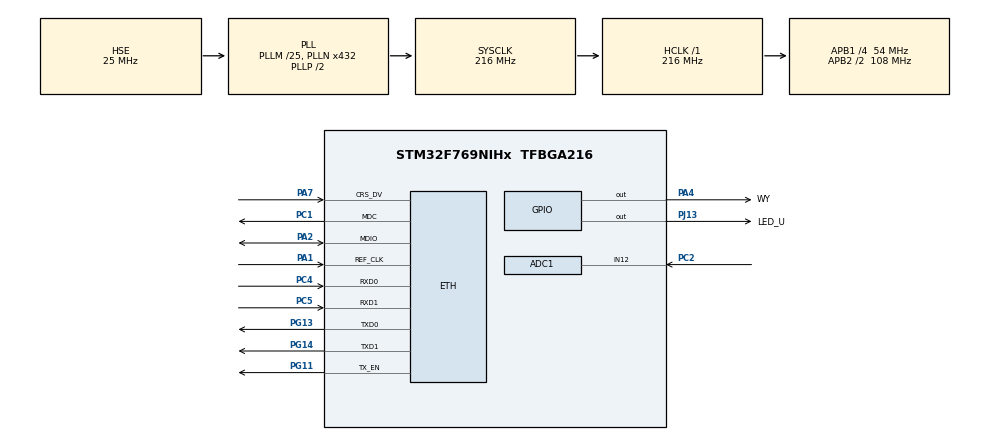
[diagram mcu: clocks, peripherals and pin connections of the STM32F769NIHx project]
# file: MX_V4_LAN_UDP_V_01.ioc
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ADC1.Channel-2\#ChannelRegularConversion=ADC_CHANNEL_12
ADC1.ClockPrescaler=ADC_CLOCK_SYNC_PCLK_DIV4
ADC1.ContinuousConvMode=DISABLE
ADC1.DMAContinuousRequests=ENABLE
ADC1.DataAlign=ADC_DATAALIGN_RIGHT
ADC1.DiscontinuousConvMode=DISABLE
ADC1.EOCSelection=ADC_EOC_SINGLE_CONV
ADC1.EnableAnalogWatchDog=false
ADC1.ExternalTrigConv=ADC_EXTERNALTRIGCONV_T4_TRGO
ADC1.ExternalTrigConvEdge=ADC_EXTERNALTRIGCONVEDGE_RISING
ADC1.InjNumberOfConversion=0
ADC1.NbrOfConversion=1
ADC1.NbrOfConversionFlag=1
ADC1.Rank-2\#ChannelRegularConversion=1
ADC1.Resolution=ADC_RESOLUTION_12B
ADC1.SamplingTime-2\#ChannelRegularConversion=ADC_SAMPLETIME_3CYCLES
ADC1.ScanConvMode=ADC_SCAN_DISABLE
ADC1.master=1
Dma.ADC1.0.Direction=DMA_PERIPH_TO_MEMORY
Dma.ADC1.0.FIFOMode=DMA_FIFOMODE_DISABLE
Dma.ADC1.0.Instance=DMA2_Stream0
Dma.ADC1.0.MemDataAlignment=DMA_MDATAALIGN_HALFWORD
Dma.ADC1.0.MemInc=DMA_MINC_ENABLE
Dma.ADC1.0.Mode=DMA_NORMAL
Dma.ADC1.0.PeriphDataAlignment=DMA_PDATAALIGN_HALFWORD
Dma.ADC1.0.PeriphInc=DMA_PINC_DISABLE
Dma.ADC1.0.Priority=DMA_PRIORITY_LOW
Dma.Request0=ADC1
ETH.MediaInterface=ETH_MEDIA_INTERFACE_RMII
ETH.PhyAddress=0
LWIP.GATEWAY_ADDRESS=192.168.000.001
LWIP.IP_ADDRESS=192.168.000.055
LWIP.LWIP_DHCP=0
LWIP.MEM_SIZE=1600
LWIP.NETMASK_ADDRESS=255.255.255.000
LWIP.PBUF_POOL_BUFSIZE=592
LWIP.TCP_MSS=1024
LWIP.TCP_SND_BUF=2048
LWIP.Version=v2.0.3_Cube
Mcu.Family=STM32F7
Mcu.Name=STM32F769NIHx
Mcu.Package=TFBGA216
NVIC.DMA2_Stream0_IRQn=true\:0\:0\:false\:false\:true\:false
NVIC.PriorityGroup=NVIC_PRIORITYGROUP_4
PA1.Mode=RMII
PA1.Signal=ETH_REF_CLK
PA2.Mode=RMII
PA2.Signal=ETH_MDIO
PA4.GPIO_Label=WY
PA4.Signal=GPIO_Output
PA7.Mode=RMII
PA7.Signal=ETH_CRS_DV
PC1.Mode=RMII
PC1.Signal=ETH_MDC
PC2.Signal=ADCx_IN12
PC4.Mode=RMII
PC4.Signal=ETH_RXD0
PC5.Mode=RMII
PC5.Signal=ETH_RXD1
PG11.Mode=RMII
PG11.Signal=ETH_TX_EN
PG13.Mode=RMII
PG13.Signal=ETH_TXD0
PG14.Mode=RMII
PG14.Signal=ETH_TXD1
PH0/OSC_IN.Mode=HSE-External-Oscillator
PH0/OSC_IN.Signal=RCC_OSC_IN
PH1/OSC_OUT.Mode=HSE-External-Oscillator
PH1/OSC_OUT.Signal=RCC_OSC_OUT
PJ13.GPIO_Label=LED_U
PJ13.Signal=GPIO_Output
ProjectManager.HeapSize=0x2000
ProjectManager.StackSize=0x4000
ProjectManager.TargetToolchain=SW4STM32
RCC.AHBFreq_Value=216000000
RCC.APB1CLKDivider=RCC_HCLK_DIV4
RCC.APB1Freq_Value=54000000
RCC.APB1TimFreq_Value=108000000
RCC.APB2CLKDivider=RCC_HCLK_DIV2
RCC.APB2Freq_Value=108000000
RCC.APB2TimFreq_Value=216000000
RCC.CortexFreq_Value=216000000
RCC.HCLKFreq_Value=216000000
RCC.HSE_VALUE=25000000
RCC.HSI_VALUE=16000000
RCC.LSE_VALUE=32768
RCC.PLLM=25
RCC.PLLN=432
RCC.PLLSourceVirtual=RCC_PLLSOURCE_HSE
RCC.SYSCLKFreq_VALUE=216000000
RCC.SYSCLKSource=RCC_SYSCLKSOURCE_PLLCLK
RCC.USBFreq_Value=216000000
RCC.VCOOutputFreq_Value=432000000
SH.ADCx_IN12.0=ADC1_IN12,IN12
TIM4.Period=269
TIM4.Prescaler=0
TIM4.TIM_MasterOutputTrigger=TIM_TRGO_UPDATE
VP_LWIP_VS_Enabled.Mode=Enabled
VP_TIM4_VS_ClockSourceINT.Mode=Internal
board=custom

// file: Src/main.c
/**
  ******************************************************************************
  * @file           : main.c
  * @brief          : Main program body
  ******************************************************************************
  * This notice applies to any and all portions of this file
  * that are not between comment pairs USER CODE BEGIN and
  * USER CODE END. Other portions of this file, whether
  * inserted by the user or by software development tools
  * are owned by their respective copyright owners.
  *
  * Copyright (c) 2019 STMicroelectronics International N.V.
  * All rights reserved.
  *
  * Redistribution and use in source and binary forms, with or without
  * modification, are permitted, provided that the following conditions are met:
  *
  * 1. Redistribution of source code must retain the above copyright notice,
  *    this list of conditions and the following disclaimer.
  * 2. Redistributions in binary form must reproduce the above copyright notice,
  *    this list of conditions and the following disclaimer in the documentation
  *    and/or other materials provided with the distribution.
  * 3. Neither the name of STMicroelectronics nor the names of other
  *    contributors to this software may be used to endorse or promote products
  *    derived from this software without specific written permission.
  * 4. This software, including modifications and/or derivative works of this
  *    software, must execute solely and exclusively on microcontroller or
  *    microprocessor devices manufactured by or for STMicroelectronics.
  * 5. Redistribution and use of this software other than as permitted under
  *    this license is void and will automatically terminate your rights under
  *    this license.
  *
  * THIS SOFTWARE IS PROVIDED BY STMICROELECTRONICS AND CONTRIBUTORS "AS IS"
  * AND ANY EXPRESS, IMPLIED OR STATUTORY WARRANTIES, INCLUDING, BUT NOT
  * LIMITED TO, THE IMPLIED WARRANTIES OF MERCHANTABILITY, FITNESS FOR A
  * PARTICULAR PURPOSE AND NON-INFRINGEMENT OF THIRD PARTY INTELLECTUAL PROPERTY
  * RIGHTS ARE DISCLAIMED TO THE FULLEST EXTENT PERMITTED BY LAW. IN NO EVENT
  * SHALL STMICROELECTRONICS OR CONTRIBUTORS BE LIABLE FOR ANY DIRECT, INDIRECT,
  * INCIDENTAL, SPECIAL, EXEMPLARY, OR CONSEQUENTIAL DAMAGES (INCLUDING, BUT NOT
  * LIMITED TO, PROCUREMENT OF SUBSTITUTE GOODS OR SERVICES; LOSS OF USE, DATA,
  * OR PROFITS; OR BUSINESS INTERRUPTION) HOWEVER CAUSED AND ON ANY THEORY OF
  * LIABILITY, WHETHER IN CONTRACT, STRICT LIABILITY, OR TORT (INCLUDING
  * NEGLIGENCE OR OTHERWISE) ARISING IN ANY WAY OUT OF THE USE OF THIS SOFTWARE,
  * EVEN IF ADVISED OF THE POSSIBILITY OF SUCH DAMAGE.
  *
  ******************************************************************************
  */
#include "main.h"
#include "stm32f7xx_hal.h"
#include "lwip.h"

/* USER CODE BEGIN Includes */
#include <math.h>
/* USER CODE END Includes */

ADC_HandleTypeDef hadc1;
DMA_HandleTypeDef hdma_adc1;

TIM_HandleTypeDef htim4;

/* USER CODE BEGIN PV */
/* Private variables ---------------------------------------------------------*/

//======================= DMA
uint16_t sampleDma1[16384];
uint16_t sampleDma2[16384];

//======================= UDP
#define IN_BUFF_SIZE 2048

static struct udp_pcb *myUdpPcb;

uint8_t dane[IN_BUFF_SIZE];
uint16_t elements[16384];
uint16_t codd[5] = { 123, 456, 789, 321, 654 };
uint8_t odbierane[20];

//======================= FLAGI
int flaga_potwOdb = 0;
int flagaTabDMA = 1;
int flagaDMA = 1;

int k;

ip_addr_t local_ip;
ip_addr_t remote_ip;
err_t udpErr;

struct pbuf * bufor;

uint32_t MYDEL = 200000;
uint16_t samplesAmount = 1024;
uint16_t mode = 0;
uint16_t finish = 1;
/* USER CODE END PV */

void SystemClock_Config(void);
static void MX_GPIO_Init(void);
static void MX_DMA_Init(void);
static void MX_ADC1_Init(void);
static void MX_TIM4_Init(void);

/* USER CODE BEGIN PFP */
/* Private function prototypes -----------------------------------------------*/

void HAL_ADC_ConvCpltCallback(ADC_HandleTypeDef* hadc){
	flagaDMA = 1;
}

void myUdpSend(uint16_t *ptr, uint16_t len) {

	bufor = pbuf_alloc(PBUF_TRANSPORT, len, PBUF_RAM);

	pbuf_take(bufor, (char*) ptr, len);

	udp_sendto(myUdpPcb, bufor, &remote_ip, 5678);

	pbuf_free(bufor);
}

void myUdpReceive(void *arg, struct udp_pcb *pcb, struct pbuf *p,
		const ip_addr_t *addr, u16_t port) {
	uint8_t *c = (uint8_t *) p->payload;
	for (int i = 0; i < p->len; ++i) {
		odbierane[i] = c[i];
		if (p->len == p->tot_len) {
			break;
		} else {
			p = p->next;
		}
	}

	if (odbierane[0] == 55) {
	} else if (odbierane[0] == 11) {
		samplesAmount = 1024;
		HAL_GPIO_TogglePin(LED_U_GPIO_Port, LED_U_Pin);
	} else if (odbierane[0] == 12) {
		samplesAmount = 2048;
		HAL_GPIO_TogglePin(LED_U_GPIO_Port, LED_U_Pin);
	} else if (odbierane[0] == 13) {
		samplesAmount = 4096;
		HAL_GPIO_TogglePin(LED_U_GPIO_Port, LED_U_Pin);
	} else if (odbierane[0] == 14) {
		samplesAmount = 8192;
		HAL_GPIO_TogglePin(LED_U_GPIO_Port, LED_U_Pin);
	} else if (odbierane[0] == 15) {
		samplesAmount = 16384;
		HAL_GPIO_TogglePin(LED_U_GPIO_Port, LED_U_Pin);
	} else if (odbierane[0] == 33) {
		if (mode < 1) {
			mode++;
		} else {
			mode = 0;
		}
	} else if (odbierane[0] == 100) {
		flaga_potwOdb = 1;
	}

	pbuf_free(p);
}

void myUdpInit(void) {
	myUdpPcb = udp_new();
	IP4_ADDR(&remote_ip, 192, 168, 0, 85); 				// Adres komputera
	IP4_ADDR(&local_ip, 192, 168, 0, 55); 				// Adres lokalny STM32
	if (myUdpPcb != NULL) {
		udpErr = udp_bind(myUdpPcb, &local_ip, 65100);	// Przypisanie lokalnego adresu i portu
		udp_recv(myUdpPcb, myUdpReceive, NULL);			// Okreœlenie funkcji wykonywanej po odbiorze danych
		if (udpErr != ERR_OK) {							// Sprawdzenie czy uda³o siê przypisac adres i port
			signalErr();
		}
	}
}

void signalErr(void) {
	while (1) {
		HAL_GPIO_TogglePin(LED_U_GPIO_Port, LED_U_Pin);
		HAL_Delay(300);
	}
}

void myUdpSendTable(uint16_t *ptr, uint16_t amount) {
	sendingWithConfirmation(codd, 10);
	for (int i = 0; i < amount / 512; i++) {
		sendingWithConfirmation(ptr + (512 * i), 1024);
	}
	finish = 1;
}

void sendingWithConfirmation(uint16_t *ptr, uint16_t len) {
	int i;
	poczatek: flaga_potwOdb = 0;
	myUdpSend(ptr, len);
	i = 0;
	while (flaga_potwOdb == 0) {
		MX_LWIP_Process();
		i++;
		if (i > MYDEL)
			goto poczatek;
	}
}

/* USER CODE END PFP */

int main(void)
{

  /* MCU Configuration----------------------------------------------------------*/

  /* Reset of all peripherals, Initializes the Flash interface and the Systick. */
  HAL_Init();

  /* Configure the system clock */
  SystemClock_Config();

  /* Initialize all configured peripherals */
  MX_GPIO_Init();
  MX_DMA_Init();
  MX_ADC1_Init();
  MX_LWIP_Init();
  MX_TIM4_Init();
  /* USER CODE BEGIN 2 */

	// licznik od dma
	HAL_TIM_Base_Start(&htim4);
	// dma
//	HAL_ADC_Start_DMA(&hadc1, sampleDma1, samplesAmount);

	myUdpInit();

  /* USER CODE END 2 */

  /* Infinite loop */
  /* USER CODE BEGIN WHILE */
	while (1) {

		MX_LWIP_Process();

		if (mode == 0) {
			if (k >= 65000) k = -135000;

			for (int i = 0; i < samplesAmount; i++) {
				elements[i] = (uint16_t) (2048
						+ 80 * sin((M_TWOPI * (3135000 + k) * i / 400000)));
//				elements[i] = (uint16_t) (200 + 200 * sin((M_TWOPI * i / 8192)));
			}
			k = -10000;
//			k += 1000;
//			HAL_Delay(100);
			myUdpSendTable(elements, samplesAmount);
		} else if (mode == 1 && flagaDMA == 1) {
			if (flagaTabDMA == 1) {
				flagaTabDMA = 2;
				HAL_ADC_Start_DMA(&hadc1, sampleDma2, samplesAmount);
				flagaDMA = 0;
				myUdpSendTable(sampleDma1, samplesAmount);
			} else if (flagaTabDMA == 2) {
				flagaTabDMA = 1;
				HAL_ADC_Start_DMA(&hadc1, sampleDma1, samplesAmount);
				flagaDMA = 0;
				myUdpSendTable(sampleDma1, samplesAmount);
			}
		}

  /* USER CODE END WHILE */

	}

}

void SystemClock_Config(void)
{

  RCC_OscInitTypeDef RCC_OscInitStruct;
  RCC_ClkInitTypeDef RCC_ClkInitStruct;

    /**Configure the main internal regulator output voltage
    */
  __HAL_RCC_PWR_CLK_ENABLE();

  __HAL_PWR_VOLTAGESCALING_CONFIG(PWR_REGULATOR_VOLTAGE_SCALE1);

    /**Initializes the CPU, AHB and APB busses clocks
    */
  RCC_OscInitStruct.OscillatorType = RCC_OSCILLATORTYPE_HSE;
  RCC_OscInitStruct.HSEState = RCC_HSE_ON;
  RCC_OscInitStruct.PLL.PLLState = RCC_PLL_ON;
  RCC_OscInitStruct.PLL.PLLSource = RCC_PLLSOURCE_HSE;
  RCC_OscInitStruct.PLL.PLLM = 25;
  RCC_OscInitStruct.PLL.PLLN = 432;
  RCC_OscInitStruct.PLL.PLLP = RCC_PLLP_DIV2;
  RCC_OscInitStruct.PLL.PLLQ = 2;
  if (HAL_RCC_OscConfig(&RCC_OscInitStruct) != HAL_OK)
  {
    _Error_Handler(__FILE__, __LINE__);
  }

    /**Activate the Over-Drive mode
    */
  if (HAL_PWREx_EnableOverDrive() != HAL_OK)
  {
    _Error_Handler(__FILE__, __LINE__);
  }

    /**Initializes the CPU, AHB and APB busses clocks
    */
  RCC_ClkInitStruct.ClockType = RCC_CLOCKTYPE_HCLK|RCC_CLOCKTYPE_SYSCLK
                              |RCC_CLOCKTYPE_PCLK1|RCC_CLOCKTYPE_PCLK2;
  RCC_ClkInitStruct.SYSCLKSource = RCC_SYSCLKSOURCE_PLLCLK;
  RCC_ClkInitStruct.AHBCLKDivider = RCC_SYSCLK_DIV1;
  RCC_ClkInitStruct.APB1CLKDivider = RCC_HCLK_DIV4;
  RCC_ClkInitStruct.APB2CLKDivider = RCC_HCLK_DIV2;

  if (HAL_RCC_ClockConfig(&RCC_ClkInitStruct, FLASH_LATENCY_7) != HAL_OK)
  {
    _Error_Handler(__FILE__, __LINE__);
  }

    /**Configure the Systick interrupt time
    */
  HAL_SYSTICK_Config(HAL_RCC_GetHCLKFreq()/1000);

    /**Configure the Systick
    */
  HAL_SYSTICK_CLKSourceConfig(SYSTICK_CLKSOURCE_HCLK);

  /* SysTick_IRQn interrupt configuration */
  HAL_NVIC_SetPriority(SysTick_IRQn, 0, 0);
}

/* ADC1 init function */
static void MX_ADC1_Init(void)
{

  ADC_ChannelConfTypeDef sConfig;

    /**Configure the global features of the ADC (Clock, Resolution, Data Alignment and number of conversion)
    */
  hadc1.Instance = ADC1;
  hadc1.Init.ClockPrescaler = ADC_CLOCK_SYNC_PCLK_DIV4;
  hadc1.Init.Resolution = ADC_RESOLUTION_12B;
  hadc1.Init.ScanConvMode = ADC_SCAN_DISABLE;
  hadc1.Init.ContinuousConvMode = DISABLE;
  hadc1.Init.DiscontinuousConvMode = DISABLE;
  hadc1.Init.ExternalTrigConvEdge = ADC_EXTERNALTRIGCONVEDGE_RISING;
  hadc1.Init.ExternalTrigConv = ADC_EXTERNALTRIGCONV_T4_TRGO;
  hadc1.Init.DataAlign = ADC_DATAALIGN_RIGHT;
  hadc1.Init.NbrOfConversion = 1;
  hadc1.Init.DMAContinuousRequests = ENABLE;
  hadc1.Init.EOCSelection = ADC_EOC_SINGLE_CONV;
  if (HAL_ADC_Init(&hadc1) != HAL_OK)
  {
    _Error_Handler(__FILE__, __LINE__);
  }

    /**Configure for the selected ADC regular channel its corresponding rank in the sequencer and its sample time.
    */
  sConfig.Channel = ADC_CHANNEL_12;
  sConfig.Rank = ADC_REGULAR_RANK_1;
  sConfig.SamplingTime = ADC_SAMPLETIME_3CYCLES;
  if (HAL_ADC_ConfigChannel(&hadc1, &sConfig) != HAL_OK)
  {
    _Error_Handler(__FILE__, __LINE__);
  }

}

/* TIM4 init function */
static void MX_TIM4_Init(void)
{

  TIM_ClockConfigTypeDef sClockSourceConfig;
  TIM_MasterConfigTypeDef sMasterConfig;

  htim4.Instance = TIM4;
  htim4.Init.Prescaler = 0;
  htim4.Init.CounterMode = TIM_COUNTERMODE_UP;
  htim4.Init.Period = 269;
  htim4.Init.ClockDivision = TIM_CLOCKDIVISION_DIV1;
  htim4.Init.AutoReloadPreload = TIM_AUTORELOAD_PRELOAD_DISABLE;
  if (HAL_TIM_Base_Init(&htim4) != HAL_OK)
  {
    _Error_Handler(__FILE__, __LINE__);
  }

  sClockSourceConfig.ClockSource = TIM_CLOCKSOURCE_INTERNAL;
  if (HAL_TIM_ConfigClockSource(&htim4, &sClockSourceConfig) != HAL_OK)
  {
    _Error_Handler(__FILE__, __LINE__);
  }

  sMasterConfig.MasterOutputTrigger = TIM_TRGO_UPDATE;
  sMasterConfig.MasterSlaveMode = TIM_MASTERSLAVEMODE_DISABLE;
  if (HAL_TIMEx_MasterConfigSynchronization(&htim4, &sMasterConfig) != HAL_OK)
  {
    _Error_Handler(__FILE__, __LINE__);
  }

}

static void MX_DMA_Init(void)
{
  /* DMA controller clock enable */
  __HAL_RCC_DMA2_CLK_ENABLE();

  /* DMA interrupt init */
  /* DMA2_Stream0_IRQn interrupt configuration */
  HAL_NVIC_SetPriority(DMA2_Stream0_IRQn, 0, 0);
  HAL_NVIC_EnableIRQ(DMA2_Stream0_IRQn);

}

/** Configure pins as
        * Analog
        * Input
        * Output
        * EVENT_OUT
        * EXTI
*/
static void MX_GPIO_Init(void)
{

  GPIO_InitTypeDef GPIO_InitStruct;

  /* GPIO Ports Clock Enable */
  __HAL_RCC_GPIOG_CLK_ENABLE();
  __HAL_RCC_GPIOJ_CLK_ENABLE();
  __HAL_RCC_GPIOH_CLK_ENABLE();
  __HAL_RCC_GPIOC_CLK_ENABLE();
  __HAL_RCC_GPIOA_CLK_ENABLE();

  /*Configure GPIO pin Output Level */
  HAL_GPIO_WritePin(LED_U_GPIO_Port, LED_U_Pin, GPIO_PIN_RESET);

  /*Configure GPIO pin Output Level */
  HAL_GPIO_WritePin(WY_GPIO_Port, WY_Pin, GPIO_PIN_RESET);

  /*Configure GPIO pin : LED_U_Pin */
  GPIO_InitStruct.Pin = LED_U_Pin;
  GPIO_InitStruct.Mode = GPIO_MODE_OUTPUT_PP;
  GPIO_InitStruct.Pull = GPIO_NOPULL;
  GPIO_InitStruct.Speed = GPIO_SPEED_FREQ_LOW;
  HAL_GPIO_Init(LED_U_GPIO_Port, &GPIO_InitStruct);

  /*Configure GPIO pin : WY_Pin */
  GPIO_InitStruct.Pin = WY_Pin;
  GPIO_InitStruct.Mode = GPIO_MODE_OUTPUT_PP;
  GPIO_InitStruct.Pull = GPIO_NOPULL;
  GPIO_InitStruct.Speed = GPIO_SPEED_FREQ_LOW;
  HAL_GPIO_Init(WY_GPIO_Port, &GPIO_InitStruct);

}

void _Error_Handler(char *file, int line)
{
	while (1) {
	}
}

/************************ (C) COPYRIGHT STMicroelectronics *****END OF FILE****/
